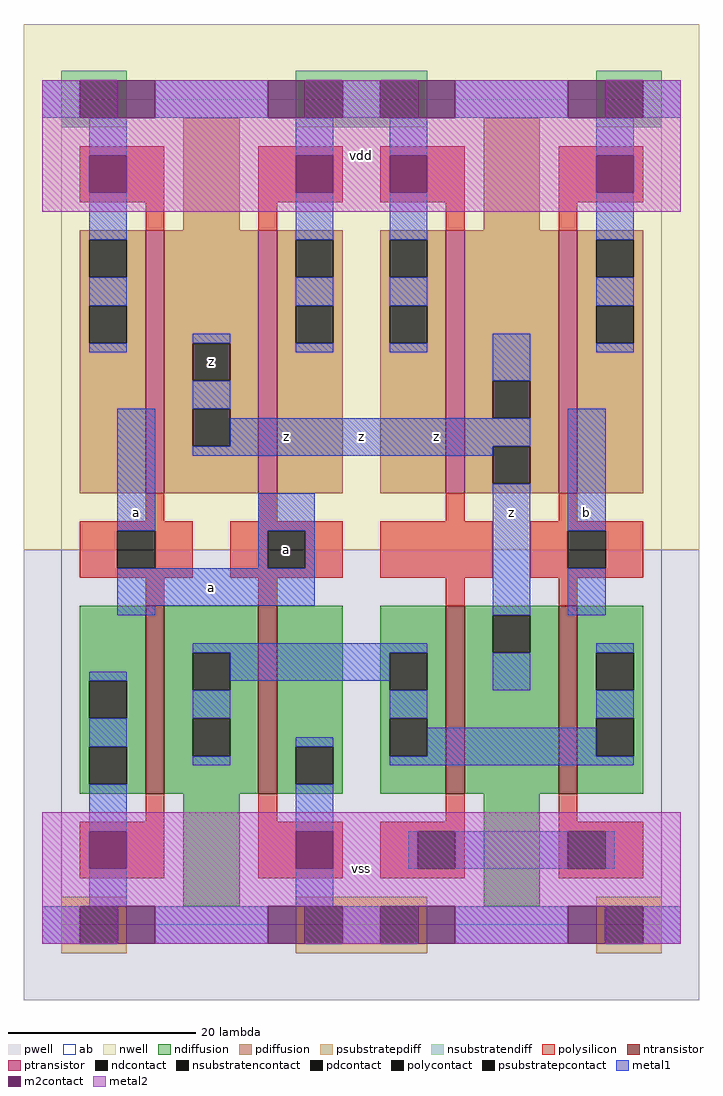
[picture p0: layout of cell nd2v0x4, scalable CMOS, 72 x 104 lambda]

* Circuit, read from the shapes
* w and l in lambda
.subckt nd2v0x4 a b vdd vss z
M1 n1 a vss vss nfet w=20 l=2 m=2
M2 z b n1 vss nfet w=20 l=2 m=2
M3 z a vdd vdd pfet w=28 l=2 m=2
M4 z b vdd vdd pfet w=28 l=2 m=2
.ends

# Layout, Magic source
magic
tech scmos
<< ab >>
rect 0 0 64 88
<< pwell >>
rect -4 -8 68 40
<< nwell >>
rect -4 40 68 96
<< polysilicon >>
rect 2 77 11 83
rect 9 74 11 77
rect 21 77 30 83
rect 34 77 43 83
rect 21 74 23 77
rect 41 74 43 77
rect 53 77 62 83
rect 53 74 55 77
rect 9 43 11 46
rect 21 43 23 46
rect 41 43 43 46
rect 53 43 55 46
rect 2 42 14 43
rect 2 38 6 42
rect 10 38 14 42
rect 2 37 14 38
rect 18 42 30 43
rect 18 38 22 42
rect 26 38 30 42
rect 18 37 30 38
rect 34 37 46 43
rect 50 42 62 43
rect 50 38 54 42
rect 58 38 62 42
rect 50 37 62 38
rect 9 34 11 37
rect 21 34 23 37
rect 41 34 43 37
rect 53 34 55 37
rect 9 11 11 14
rect 2 5 11 11
rect 21 11 23 14
rect 41 11 43 14
rect 21 5 30 11
rect 34 10 43 11
rect 34 6 38 10
rect 42 6 43 10
rect 34 5 43 6
rect 53 11 55 14
rect 53 10 62 11
rect 53 6 54 10
rect 58 6 62 10
rect 53 5 62 6
<< ndiffusion >>
rect 2 26 9 34
rect 2 22 3 26
rect 7 22 9 26
rect 2 19 9 22
rect 2 15 3 19
rect 7 15 9 19
rect 2 14 9 15
rect 11 29 21 34
rect 11 25 14 29
rect 18 25 21 29
rect 11 22 21 25
rect 11 18 14 22
rect 18 18 21 22
rect 11 14 21 18
rect 23 19 30 34
rect 23 15 25 19
rect 29 15 30 19
rect 23 14 30 15
rect 34 29 41 34
rect 34 25 35 29
rect 39 25 41 29
rect 34 22 41 25
rect 34 18 35 22
rect 39 18 41 22
rect 34 14 41 18
rect 43 33 53 34
rect 43 29 46 33
rect 50 29 53 33
rect 43 14 53 29
rect 55 29 62 34
rect 55 25 57 29
rect 61 25 62 29
rect 55 22 62 25
rect 55 18 57 22
rect 61 18 62 22
rect 55 14 62 18
rect 13 2 19 14
rect 45 2 51 14
<< pdiffusion >>
rect 13 74 19 86
rect 45 74 51 86
rect 2 73 9 74
rect 2 69 3 73
rect 7 69 9 73
rect 2 66 9 69
rect 2 62 3 66
rect 7 62 9 66
rect 2 46 9 62
rect 11 62 21 74
rect 11 58 14 62
rect 18 58 21 62
rect 11 55 21 58
rect 11 51 14 55
rect 18 51 21 55
rect 11 46 21 51
rect 23 73 30 74
rect 23 69 25 73
rect 29 69 30 73
rect 23 66 30 69
rect 23 62 25 66
rect 29 62 30 66
rect 23 46 30 62
rect 34 73 41 74
rect 34 69 35 73
rect 39 69 41 73
rect 34 66 41 69
rect 34 62 35 66
rect 39 62 41 66
rect 34 46 41 62
rect 43 58 53 74
rect 43 54 46 58
rect 50 54 53 58
rect 43 51 53 54
rect 43 47 46 51
rect 50 47 53 51
rect 43 46 53 47
rect 55 73 62 74
rect 55 69 57 73
rect 61 69 62 73
rect 55 66 62 69
rect 55 62 57 66
rect 61 62 62 66
rect 55 46 62 62
<< metal1 >>
rect -2 86 2 90
rect 10 86 22 90
rect 30 86 34 90
rect 42 86 54 90
rect 62 86 66 90
rect 3 82 7 86
rect 3 73 7 78
rect 3 66 7 69
rect 25 82 29 86
rect 25 73 29 78
rect 25 66 29 69
rect 3 61 7 62
rect 14 62 18 63
rect 25 61 29 62
rect 35 82 39 86
rect 35 73 39 78
rect 35 66 39 69
rect 57 82 61 86
rect 57 73 61 78
rect 57 66 61 69
rect 35 61 39 62
rect 14 55 18 58
rect 6 42 10 55
rect 46 58 50 63
rect 57 61 61 62
rect 18 51 50 54
rect 14 50 46 51
rect 21 42 27 46
rect 21 38 22 42
rect 26 38 27 42
rect 6 34 27 38
rect 6 33 10 34
rect 46 33 50 47
rect 54 42 58 55
rect 54 33 58 38
rect 14 29 39 30
rect 3 26 7 27
rect 3 19 7 22
rect 18 26 35 29
rect 14 22 18 25
rect 46 25 50 29
rect 57 29 61 30
rect 35 22 39 25
rect 14 17 18 18
rect 25 19 29 20
rect 3 10 7 15
rect 3 2 7 6
rect 57 22 61 25
rect 39 18 57 21
rect 35 17 61 18
rect 25 10 29 15
rect 37 6 38 10
rect 42 6 54 10
rect 58 6 59 10
rect 25 2 29 6
rect -2 -2 2 2
rect 10 -2 22 2
rect 30 -2 34 2
rect 42 -2 54 2
rect 62 -2 66 2
<< metal2 >>
rect -2 86 6 90
rect 10 86 22 90
rect 26 86 38 90
rect 42 86 54 90
rect 58 86 66 90
rect -2 82 66 86
rect -2 78 3 82
rect 7 78 25 82
rect 29 78 35 82
rect 39 78 57 82
rect 61 78 66 82
rect -2 76 66 78
rect -2 10 66 12
rect -2 6 3 10
rect 7 6 25 10
rect 29 6 66 10
rect -2 2 66 6
rect -2 -2 6 2
rect 10 -2 22 2
rect 26 -2 38 2
rect 42 -2 54 2
rect 58 -2 66 2
<< ntransistor >>
rect 9 14 11 34
rect 21 14 23 34
rect 41 14 43 34
rect 53 14 55 34
<< ptransistor >>
rect 9 46 11 74
rect 21 46 23 74
rect 41 46 43 74
rect 53 46 55 74
<< polycontact >>
rect 6 38 10 42
rect 22 38 26 42
rect 54 38 58 42
rect 38 6 42 10
rect 54 6 58 10
<< ndcontact >>
rect 3 22 7 26
rect 3 15 7 19
rect 14 25 18 29
rect 14 18 18 22
rect 25 15 29 19
rect 35 25 39 29
rect 35 18 39 22
rect 46 29 50 33
rect 57 25 61 29
rect 57 18 61 22
<< pdcontact >>
rect 3 69 7 73
rect 3 62 7 66
rect 14 58 18 62
rect 14 51 18 55
rect 25 69 29 73
rect 25 62 29 66
rect 35 69 39 73
rect 35 62 39 66
rect 46 54 50 58
rect 46 47 50 51
rect 57 69 61 73
rect 57 62 61 66
<< m2contact >>
rect 6 86 10 90
rect 22 86 26 90
rect 38 86 42 90
rect 54 86 58 90
rect 3 78 7 82
rect 25 78 29 82
rect 35 78 39 82
rect 57 78 61 82
rect 3 6 7 10
rect 25 6 29 10
rect 6 -2 10 2
rect 22 -2 26 2
rect 38 -2 42 2
rect 54 -2 58 2
<< psubstratepcontact >>
rect 2 -2 6 2
rect 26 -2 30 2
rect 34 -2 38 2
rect 58 -2 62 2
<< nsubstratencontact >>
rect 2 86 6 90
rect 26 86 30 90
rect 34 86 38 90
rect 58 86 62 90
<< psubstratepdiff >>
rect 0 2 7 3
rect 25 2 39 3
rect 57 2 64 3
rect 0 -2 2 2
rect 6 -2 7 2
rect 0 -3 7 -2
rect 25 -2 26 2
rect 30 -2 34 2
rect 38 -2 39 2
rect 25 -3 39 -2
rect 57 -2 58 2
rect 62 -2 64 2
rect 57 -3 64 -2
<< nsubstratendiff >>
rect 0 90 7 91
rect 0 86 2 90
rect 6 86 7 90
rect 25 90 39 91
rect 25 86 26 90
rect 30 86 34 90
rect 38 86 39 90
rect 57 90 64 91
rect 57 86 58 90
rect 62 86 64 90
rect 0 85 7 86
rect 25 85 39 86
rect 57 85 64 86
<< labels >>
rlabel metal1 8 44 8 44 6 a
rlabel metal1 16 36 16 36 6 a
rlabel pdcontact 16 60 16 60 6 z
rlabel polycontact 24 40 24 40 6 a
rlabel metal1 32 52 32 52 6 z
rlabel metal1 24 52 24 52 6 z
rlabel metal1 48 44 48 44 6 z
rlabel metal1 40 52 40 52 6 z
rlabel metal1 56 44 56 44 6 b
rlabel metal2 32 6 32 6 6 vss
rlabel metal2 32 82 32 82 6 vdd
<< end >>
